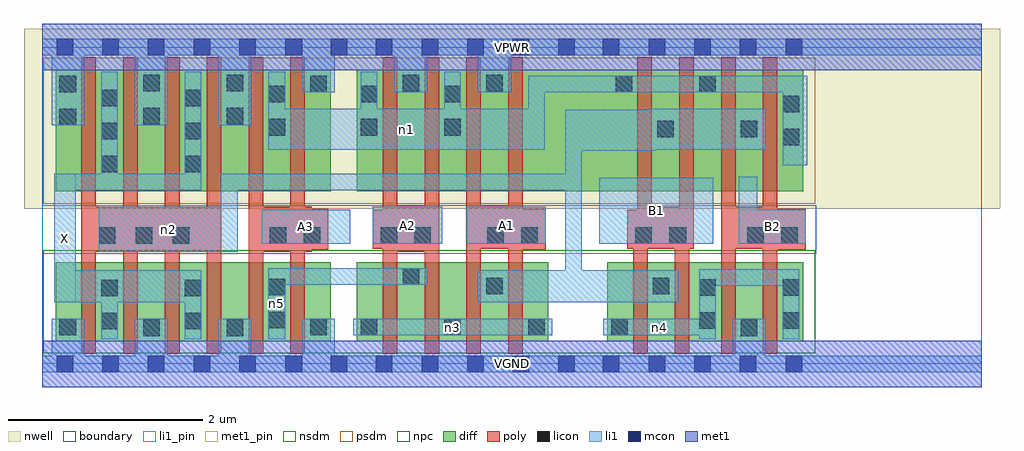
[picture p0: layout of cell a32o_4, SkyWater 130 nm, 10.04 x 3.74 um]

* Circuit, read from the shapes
.subckt a32o_4 A1 A2 A3 B1 B2 VGND VPWR X n1 n2 n3 n4 n5
XM1 X n2 VGND VSUBS sky130_fd_pr__nfet_01v8 w=0.81 l=0.15 m=4
XM2 n5 A3 VGND VSUBS sky130_fd_pr__nfet_01v8 w=0.81 l=0.15 m=2
XM3 n5 A2 n3 VSUBS sky130_fd_pr__nfet_01v8 w=0.81 l=0.15 m=2
XM4 n2 A1 n3 VSUBS sky130_fd_pr__nfet_01v8 w=0.81 l=0.15 m=2
XM5 n2 B1 n4 VSUBS sky130_fd_pr__nfet_01v8 w=0.81 l=0.15 m=2
XM6 VGND B2 n4 VSUBS sky130_fd_pr__nfet_01v8 w=0.81 l=0.15 m=2
XM7 X n2 VPWR n6 sky130_fd_pr__pfet_01v8 w=1.25 l=0.15 m=4
XM8 n1 A3 VPWR n6 sky130_fd_pr__pfet_01v8 w=1.25 l=0.15 m=2
XM9 VPWR A2 n1 n6 sky130_fd_pr__pfet_01v8 w=1.25 l=0.15 m=2
XM10 VPWR A1 n1 n6 sky130_fd_pr__pfet_01v8 w=1.25 l=0.15 m=2
XM11 n2 B1 n1 n6 sky130_fd_pr__pfet_01v8 w=1.25 l=0.15 m=2
XM12 n2 B2 n1 n6 sky130_fd_pr__pfet_01v8 w=1.25 l=0.15 m=2
.ends

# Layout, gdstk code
import gdstk
lib = gdstk.Library(unit=1e-6, precision=1e-09)
def R(c, l, rs):  # rectangles x0, y0, x1, y1
    for r in rs: c.add(gdstk.rectangle(r[:2], r[2:], *l))
def A(c, l, x, y, w, h, nx, ny, dx, dy):  # array of equal rectangles
    R(c, l, [(x+i*dx, y+j*dy, x+i*dx+w, y+j*dy+h) for i in range(nx) for j in range(ny)])
nwell = (64, 20)
diff = (65, 20)
poly = (66, 20)
licon = (66, 44)
li1_pin = (67, 16)
li1 = (67, 20)
mcon = (67, 44)
met1_pin = (68, 16)
met1 = (68, 20)
nsdm = (93, 44)
psdm = (94, 20)
npc = (95, 20)
boundary = (235, 4)

a32o_4 = lib.new_cell('a32o_4')
R(a32o_4, nwell, [(-0.19,1.595,9.85,3.45), (0,1.595,9.66,3.45)])
R(a32o_4, diff, [(0.135,0.235,2.965,1.045), (3.235,0.235,5.205,1.045), (5.81,0.235,7.825,1.045), (0.135,1.775,2.965,3.025), (3.235,1.775,7.825,3.025)])
A(a32o_4, poly, 0.4, 0.105, 0.15, 3.05, 6, 1, 0.43, 0)
A(a32o_4, poly, 3.5, 0.105, 0.15, 3.05, 4, 1, 0.43, 0)
R(a32o_4, poly, [(6.075,0.105,6.225,1.585), (6.505,0.105,6.55,1.615), (6.55,0.105,6.655,3.155), (6.98,0.105,7.13,3.155), (7.41,0.105,7.56,3.155), (0.4,1.155,1.84,1.615), (2.12,1.155,2.77,1.615), (3.5,1.155,4.08,1.635), (2.12,1.175,2.94,1.595), (4.79,1.175,5.175,1.595), (7.41,1.175,7.85,1.595), (3.395,1.185,4.08,1.585), (4.36,1.185,4.94,1.635), (6.015,1.185,6.7,1.585), (6.12,1.185,6.27,3.155), (6.12,1.185,6.7,1.615), (6.55,1.185,6.7,3.155), (6.98,1.185,7.56,1.615)])
A(a32o_4, licon, 3.275, 0.295, 0.17, 0.17, 3, 1, 0.86, 0)
A(a32o_4, licon, 0.58, 1.235, 0.17, 0.17, 3, 1, 0.38, 0)
A(a32o_4, licon, 0.605, 1.97, 0.17, 0.17, 1, 3, 0, 0.34)
A(a32o_4, licon, 1.465, 1.97, 0.17, 0.17, 1, 3, 0, 0.34)
R(a32o_4, licon, [(1.035,0.285,1.205,0.455), (1.895,0.285,2.065,0.455), (7.185,0.285,7.355,0.455), (0.175,0.295,0.345,0.465), (2.755,0.295,2.925,0.465), (5.85,0.295,6.02,0.465), (0.605,0.355,0.775,0.525), (1.465,0.355,1.635,0.525), (6.755,0.36,6.925,0.53), (7.615,0.36,7.785,0.53), (2.325,0.365,2.495,0.535), (0.605,0.695,0.775,0.865), (1.465,0.695,1.635,0.865), (6.755,0.7,6.925,0.87), (7.615,0.7,7.785,0.87), (2.325,0.705,2.495,0.875), (4.565,0.715,4.735,0.885), (6.28,0.715,6.45,0.885), (3.705,0.815,3.875,0.985), (2.34,1.235,2.51,1.405), (2.69,1.235,2.86,1.405), (3.48,1.235,3.65,1.405), (3.825,1.235,3.995,1.405), (4.575,1.235,4.745,1.405), (4.925,1.235,5.095,1.405), (6.1,1.235,6.27,1.405), (6.45,1.235,6.62,1.405), (7.25,1.235,7.42,1.405), (7.6,1.235,7.77,1.405), (7.615,2.25,7.785,2.42), (6.325,2.33,6.495,2.5), (7.185,2.33,7.355,2.5), (2.325,2.35,2.495,2.52), (3.275,2.35,3.445,2.52), (4.135,2.35,4.305,2.52), (0.175,2.455,0.345,2.625), (1.035,2.465,1.205,2.635), (1.895,2.465,2.065,2.635), (7.615,2.59,7.785,2.76), (2.325,2.69,2.495,2.86), (3.275,2.69,3.445,2.86), (4.135,2.69,4.305,2.86), (0.175,2.795,0.345,2.965), (2.755,2.795,2.925,2.965), (5.895,2.795,6.065,2.965), (6.755,2.795,6.925,2.965), (1.035,2.805,1.205,2.975), (1.895,2.805,2.065,2.975), (3.705,2.805,3.875,2.975), (4.565,2.805,4.735,2.975)])
R(a32o_4, li1_pin, [(0.12,0.635,0.34,1.955), (2.255,1.235,3.165,1.585), (3.395,1.235,4.11,1.615), (4.365,1.235,5.175,1.615), (5.73,1.235,6.9,1.915), (7.16,1.235,7.85,1.585)])
R(a32o_4, li1, [(0,-0.085,9.66,0.085), (0.095,-0.085,0.43,0.465), (0.95,-0.085,1.29,0.465), (1.81,-0.085,2.15,0.465), (2.67,-0.085,3.005,0.465), (7.1,-0.085,7.44,0.465), (0.605,0.255,0.775,0.965), (1.465,0.255,1.635,0.965), (2.325,0.255,2.495,0.985), (6.755,0.255,6.925,0.975), (7.615,0.255,7.785,0.975), (3.195,0.295,5.245,0.465), (5.77,0.295,6.925,0.465), (0.12,0.635,1.635,0.965), (0.12,0.635,0.34,1.955), (4.48,0.635,6.54,0.965), (5.38,0.635,5.55,2.615), (6.755,0.805,7.785,0.975), (2.325,0.815,3.96,0.985), (0.58,1.155,2.01,1.615), (1.835,1.155,2.01,1.955), (2.255,1.235,3.165,1.585), (3.395,1.235,4.11,1.615), (4.365,1.235,5.175,1.615), (5.73,1.235,6.9,1.915), (7.16,1.235,7.85,1.585), (7.16,1.235,7.355,1.925), (0.12,1.785,1.635,1.955), (0.605,1.785,0.775,3.005), (1.465,1.785,1.635,3.005), (1.835,1.785,5.55,1.955), (7.615,2.045,7.865,2.965), (5.38,2.195,6.31,2.205), (2.325,2.205,5.165,2.625), (2.325,2.205,2.495,3.005), (3.275,2.205,3.445,3.005), (4.135,2.205,4.305,3.005), (4.995,2.205,5.165,2.965), (5.38,2.205,7.44,2.615), (6.24,2.205,7.44,2.625), (0.095,2.455,0.43,3.345), (0.95,2.455,1.29,3.345), (1.81,2.455,2.15,3.345), (2.67,2.795,3.005,3.345), (3.62,2.795,3.96,3.345), (4.48,2.795,4.82,3.345), (4.995,2.795,7.865,2.965), (0,3.175,9.66,3.345)])
A(a32o_4, mcon, 0.145, -0.085, 0.17, 0.17, 5, 2, 0.47, 3.26)
A(a32o_4, mcon, 2.5, -0.085, 0.17, 0.17, 3, 2, 0.465, 3.26)
A(a32o_4, mcon, 3.9, -0.085, 0.17, 0.17, 3, 2, 0.47, 3.26)
A(a32o_4, mcon, 5.765, -0.085, 0.17, 0.17, 5, 2, 0.47, 3.26)
R(a32o_4, mcon, [(5.305,-0.085,5.475,0.085), (5.305,3.175,5.475,3.345)])
R(a32o_4, met1_pin, [(0,-0.24,9.66,0.24), (0,3.02,9.66,3.5)])
R(a32o_4, met1, [(0,-0.24,9.66,0.24), (0,3.02,9.66,3.5)])
R(a32o_4, nsdm, [(0.01,0.11,7.95,1.17)])
R(a32o_4, psdm, [(0.01,1.65,7.95,3.15)])
R(a32o_4, npc, [(0,1.135,7.96,1.635)])
R(a32o_4, boundary, [(0,0,9.66,3.26)])
a32o_4.add(gdstk.Label('A1', (4.77,1.425), layer=67, texttype=5))
a32o_4.add(gdstk.Label('A2', (3.752,1.425), layer=67, texttype=5))
a32o_4.add(gdstk.Label('A3', (2.71,1.41), layer=67, texttype=5))
a32o_4.add(gdstk.Label('B1', (6.315,1.575), layer=67, texttype=5))
a32o_4.add(gdstk.Label('B2', (7.505,1.41), layer=67, texttype=5))
a32o_4.add(gdstk.Label('X', (0.23,1.295), layer=67, texttype=5))
a32o_4.add(gdstk.Label('n3', (4.22,0.38), layer=67, texttype=5))
a32o_4.add(gdstk.Label('n4', (6.347,0.38), layer=67, texttype=5))
a32o_4.add(gdstk.Label('n5', (2.41,0.62), layer=67, texttype=5))
a32o_4.add(gdstk.Label('n2', (1.295,1.385), layer=67, texttype=5))
a32o_4.add(gdstk.Label('n1', (3.745,2.415), layer=67, texttype=5))
a32o_4.add(gdstk.Label('VPWR', (4.83,3.26), layer=68, texttype=5))
a32o_4.add(gdstk.Label('VGND', (4.83,0), layer=68, texttype=5))
a32o_4.add(gdstk.Label('A1', (4.77,1.425), layer=67, texttype=16))
a32o_4.add(gdstk.Label('A2', (3.752,1.425), layer=67, texttype=16))
a32o_4.add(gdstk.Label('A3', (2.71,1.41), layer=67, texttype=16))
a32o_4.add(gdstk.Label('B1', (6.315,1.575), layer=67, texttype=16))
a32o_4.add(gdstk.Label('B2', (7.505,1.41), layer=67, texttype=16))
a32o_4.add(gdstk.Label('X', (0.23,1.295), layer=67, texttype=16))
a32o_4.add(gdstk.Label('VPWR', (4.83,3.26), layer=68, texttype=16))
a32o_4.add(gdstk.Label('VGND', (4.83,0), layer=68, texttype=16))

lib.write_gds('a32o_4.gds')
